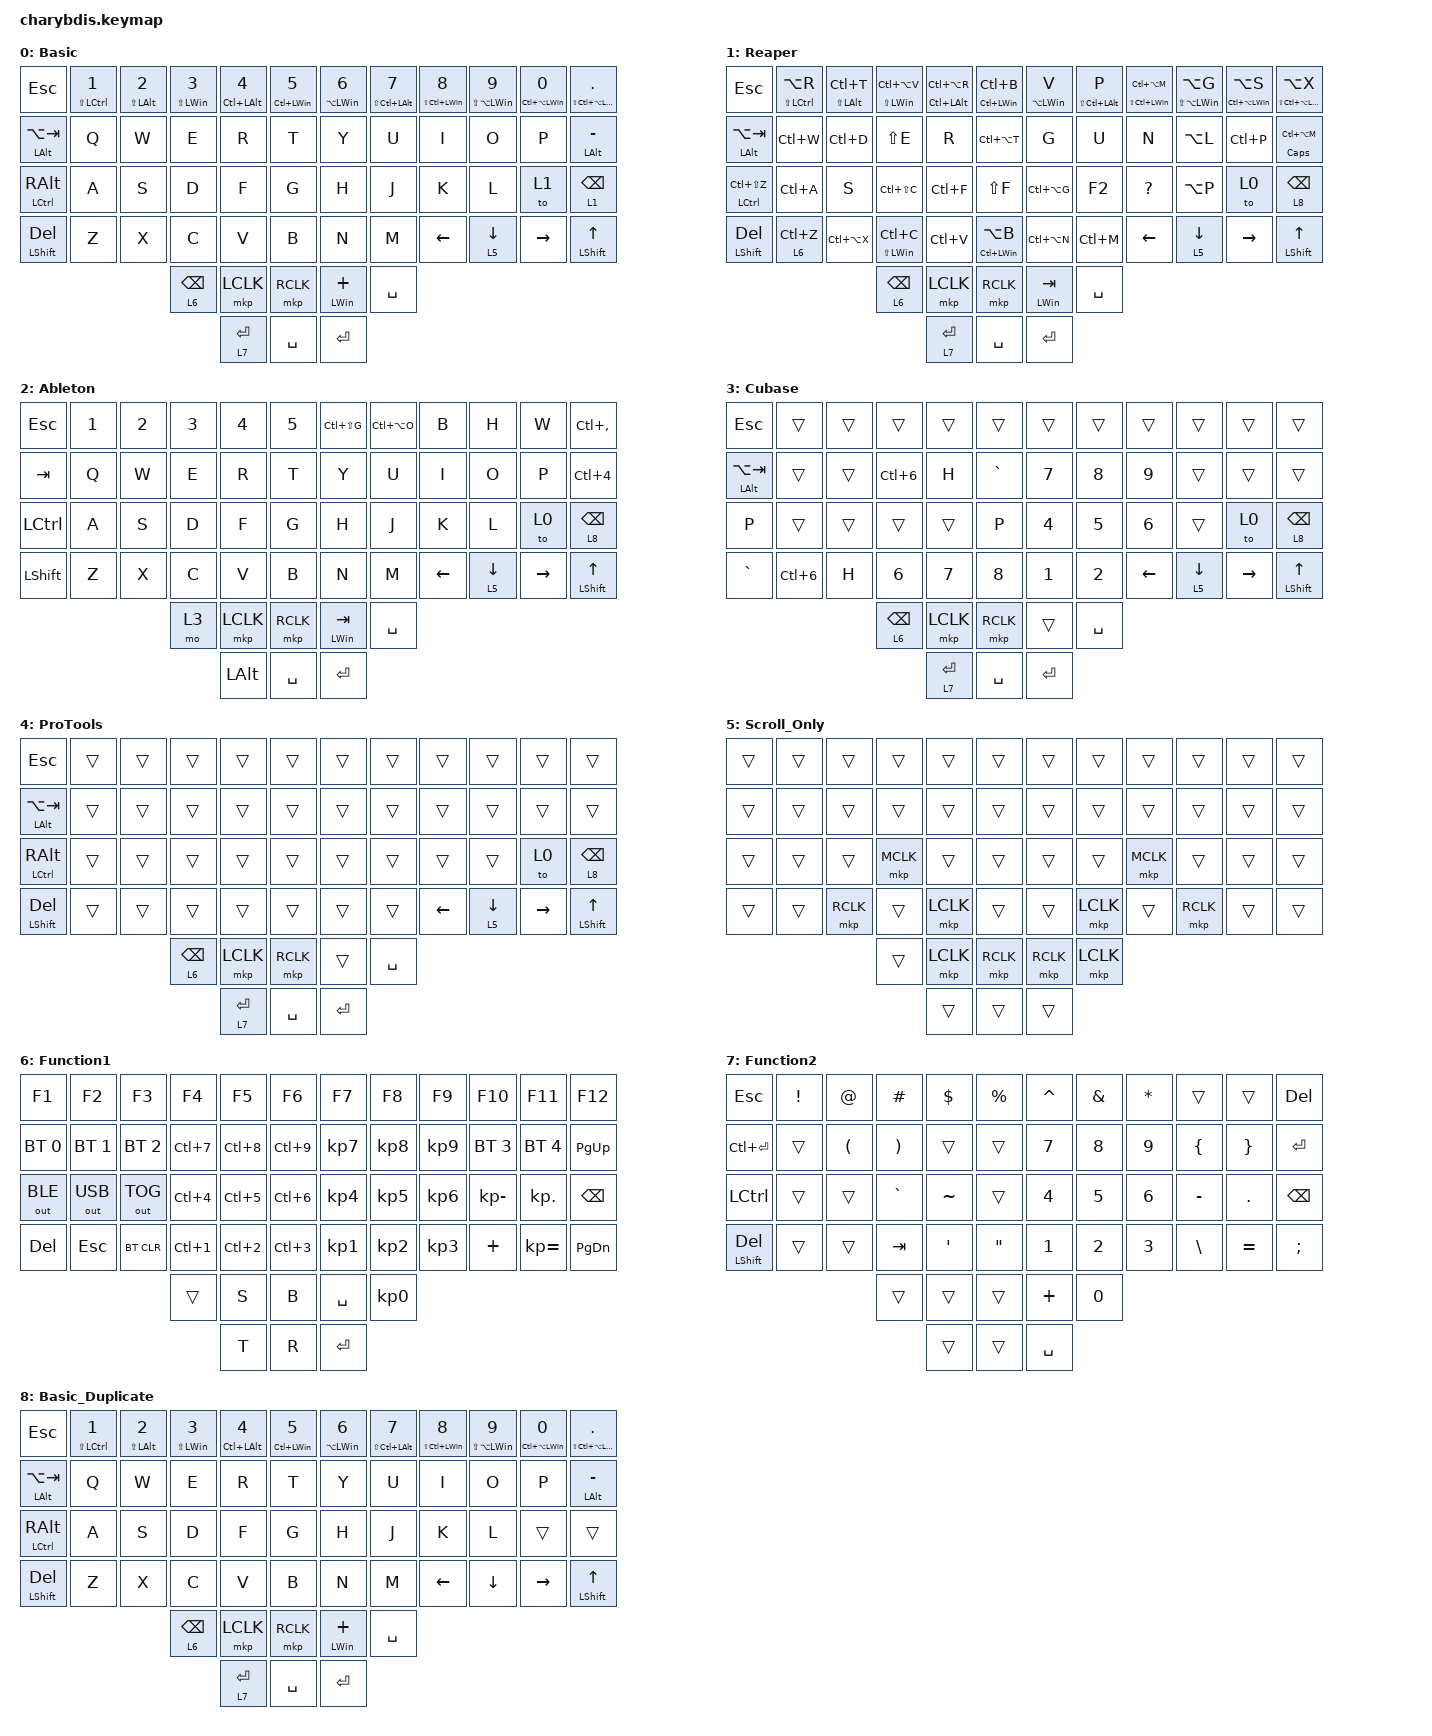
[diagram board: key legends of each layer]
#include <dt-bindings/zmk/mouse.h>
#include <behaviors.dtsi>
#include <dt-bindings/zmk/bt.h>
#include <dt-bindings/zmk/keys.h>
#include <dt-bindings/zmk/outputs.h>

&lt {
    tapping-term-ms = <200>;
    flavor = "balanced";
    quick-tap-ms = <150>;
};

/ {
    combos {
        compatible = "zmk,combos";

        escc {
            bindings = <&kp ESC>;
            key-positions = <17 18>;
            layers = <1>;
        };

        underscore {
            bindings = <&kp UNDERSCORE>;
            key-positions = <30 40>;
        };

        minus {
            bindings = <&kp MINUS>;
            key-positions = <31 40>;
        };

        colon {
            bindings = <&kp COLON>;
            key-positions = <28 35>;
        };

        slash {
            bindings = <&kp SLASH>;
            key-positions = <28 47>;
        };

        period {
            bindings = <&kp PERIOD>;
            key-positions = <28 44>;
        };

        comma {
            bindings = <&kp COMMA>;
            key-positions = <28 45>;
        };

        leftbracket {
            bindings = <&kp LEFT_BRACKET>;
            key-positions = <32 40>;
        };

        rightbracket {
            bindings = <&kp RIGHT_BRACKET>;
            key-positions = <33 40>;
        };

        lessthan {
            bindings = <&kp LESS_THAN>;
            key-positions = <40 44>;
        };

        greaterthan {
            bindings = <&kp GREATER_THAN>;
            key-positions = <40 46>;
        };

        altf4 {
            bindings = <&kp LA(F4)>;
            key-positions = <12 5>;
        };

        togglebleusb {
            bindings = <&out OUT_TOG>;
            key-positions = <37 26>;
        };

        altleft {
            bindings = <&kp LA(LEFT)>;
            key-positions = <12 45>;
        };

        altright {
            bindings = <&kp LA(RIGHT)>;
            key-positions = <12 47>;
        };

        out-toggle {
            bindings = <&out OUT_TOG>;
            key-positions = <37 26>;
        };

        bt1 {
            bindings = <&bt BT_SEL 0>;
            key-positions = <37 12>;
        };

        bt2 {
            bindings = <&bt BT_SEL 1>;
            key-positions = <37 13>;
        };

        alt1 {
            bindings = <&kp LA(NUMBER_1)>;
            key-positions = <12 1>;
        };

        alt2 {
            bindings = <&kp LA(NUMBER_2)>;
            key-positions = <12 2>;
        };

        alt3 {
            bindings = <&kp LA(NUMBER_3)>;
            key-positions = <12 3>;
        };

        alt4 {
            bindings = <&kp LA(NUMBER_4)>;
            key-positions = <12 4>;
        };

        ctrlwin0 {
            bindings = <&kp LC(LG(N0))>;
            key-positions = <0 5>;
        };

        ctrlwin1 {
            bindings = <&kp LC(LG(NUMBER_1))>;
            key-positions = <1 5>;
        };

        ctrlwin2 {
            bindings = <&kp LC(LG(NUMBER_2))>;
            key-positions = <2 5>;
        };

        ctrlwin3 {
            bindings = <&kp LC(LG(NUMBER_3))>;
            key-positions = <3 5>;
        };

        ctrlwin4 {
            bindings = <&kp LC(LG(NUMBER_4))>;
            key-positions = <4 5>;
        };

        to0 {
            bindings = <&to 0>;
            key-positions = <24 25>;
        };

        to1 {
            bindings = <&to 1>;
            key-positions = <24 26>;
        };

        to2 {
            bindings = <&to 2>;
            key-positions = <24 27>;
        };

        to3 {
            bindings = <&to 3>;
            key-positions = <24 28>;
        };

        to4 {
            bindings = <&to 4>;
            key-positions = <24 29>;
        };

        esc {
            bindings = <&kp ESCAPE>;
            key-positions = <41 42>;
        };

        quote {
            bindings = <&kp SINGLE_QUOTE>;
            key-positions = <53 41>;
        };

        double_quote {
            bindings = <&kp DOUBLE_QUOTES>;
            key-positions = <40 53>;
        };

        alt_tab {
            bindings = <&kp LA(TAB)>;
            key-positions = <12 49>;
        };
    };

    keymap {
        compatible = "zmk,keymap";

        Basic {
            bindings = <
&kp ESCAPE             &mt LS(LCTRL) NUMBER_1  &mt LS(LEFT_ALT) NUMBER_2  &mt LS(LEFT_WIN) NUMBER_3  &mt LC(LEFT_ALT) NUMBER_4  &mt LC(LEFT_WIN) NUMBER_5    &mt LA(LEFT_WIN) NUMBER_6  &mt LS(LC(LEFT_ALT)) NUMBER_7  &mt LS(LC(LEFT_WIN)) NUMBER_8  &mt LS(LA(LEFT_WIN)) NUMBER_9  &mt LC(LA(LEFT_WIN)) NUMBER_0  &mt LS(LC(LA(LEFT_WIN))) DOT
&mt LEFT_ALT LA(TAB)   &kp Q                   &kp W                      &kp E                      &kp R                      &kp T                        &kp Y                      &kp U                          &kp I                          &kp O                          &kp P                          &mt LEFT_ALT MINUS
&mt LCTRL RIGHT_ALT    &kp A                   &kp S                      &kp D                      &kp F                      &kp G                        &kp H                      &kp J                          &kp K                          &kp L                          &to 1                          &lt 1 BACKSPACE
&mt LEFT_SHIFT DELETE  &kp Z                   &kp X                      &kp C                      &kp V                      &kp B                        &kp N                      &kp M                          &kp LEFT                       &lt 5 DOWN                     &kp RIGHT                      &mt LEFT_SHIFT UP_ARROW
                                                                          &lt 6 BACKSPACE            &mkp LCLK                  &mkp RCLK                    &mt LEFT_WIN PLUS          &kp SPACE
                                                                                                     &lt 7 ENTER                &kp SPACE                    &kp ENTER
            >;
        };

        Reaper {
            bindings = <
&kp ESCAPE             &mt LS(LCTRL) LA(R)  &mt LS(LEFT_ALT) LC(T)  &mt LS(LEFT_WIN) LC(LA(V))  &mt LC(LEFT_ALT) LC(LA(R))  &mt LC(LEFT_WIN) LC(B)    &mt LA(LEFT_WIN) V  &mt LS(LC(LEFT_ALT)) P  &mt LS(LC(LEFT_WIN)) LC(LA(M))  &mt LS(LA(LEFT_WIN)) LA(G)  &mt LC(LA(LEFT_WIN)) LA(S)  &mt LS(LC(LA(LEFT_WIN))) LA(X)
&mt LEFT_ALT LA(TAB)   &kp LC(W)            &kp LC(D)               &kp LS(E)                   &kp R                       &kp LC(LA(T))             &kp G               &kp U                   &kp N                           &kp LA(L)                   &kp LC(P)                   &mt CAPSLOCK LC(LA(M))
&mt LCTRL LC(LS(Z))    &kp LC(A)            &kp S                   &kp LC(LS(C))               &kp LC(F)                   &kp LS(F)                 &kp LC(LA(G))       &kp F2                  &kp QUESTION                    &kp LA(P)                   &to 0                       &lt 8 BACKSPACE
&mt LEFT_SHIFT DELETE  &lt 6 LC(Z)          &kp LC(LA(X))           &mt LS(LEFT_WIN) LC(C)      &kp LC(V)                   &mt LC(LEFT_WIN) LA(B)    &kp LC(LA(N))       &kp LC(M)               &kp LEFT                        &lt 5 DOWN                  &kp RIGHT                   &mt LEFT_SHIFT UP_ARROW
                                                                    &lt 6 BACKSPACE             &mkp LCLK                   &mkp RCLK                 &mt LWIN TAB        &kp SPACE
                                                                                                &lt 7 ENTER                 &kp SPACE                 &kp ENTER
            >;
        };

        Ableton {
            bindings = <
&kp ESCAPE        &kp NUMBER_1  &kp NUMBER_2  &kp NUMBER_3  &kp NUMBER_4  &kp N5       &kp LC(LS(G))     &kp LC(LA(O))  &kp B     &kp H       &kp W      &kp LC(COMMA)
&kp TAB           &kp Q         &kp W         &kp E         &kp R         &kp T        &kp Y             &kp U          &kp I     &kp O       &kp P      &kp LC(NUMBER_4)
&kp LEFT_CONTROL  &kp A         &kp S         &kp D         &kp F         &kp G        &kp H             &kp J          &kp K     &kp L       &to 0      &lt 8 BACKSPACE
&kp LSHFT         &kp Z         &kp X         &kp C         &kp V         &kp B        &kp N             &kp M          &kp LEFT  &lt 5 DOWN  &kp RIGHT  &mt LEFT_SHIFT UP_ARROW
                                              &mo 3         &mkp LCLK     &mkp RCLK    &mt LEFT_WIN TAB  &kp SPACE
                                                            &kp LEFT_ALT  &kp SPACE    &kp ENTER
            >;
        };

        Cubase {
            bindings = <
&kp ESCAPE            &trans            &trans  &trans            &trans       &trans       &trans        &trans        &trans        &trans      &trans     &trans
&mt LEFT_ALT LA(TAB)  &trans            &trans  &kp LC(NUMBER_6)  &kp H        &kp GRAVE    &kp N7        &kp N8        &kp N9        &trans      &trans     &trans
&kp P                 &trans            &trans  &trans            &trans       &kp P        &kp NUMBER_4  &kp N5        &kp NUMBER_6  &trans      &to 0      &lt 8 BACKSPACE
&kp GRAVE             &kp LC(NUMBER_6)  &kp H   &kp NUMBER_6      &kp N7       &kp N8       &kp NUMBER_1  &kp NUMBER_2  &kp LEFT      &lt 5 DOWN  &kp RIGHT  &mt LEFT_SHIFT UP_ARROW
                                                &lt 6 BACKSPACE   &mkp LCLK    &mkp RCLK    &trans        &kp SPACE
                                                                  &lt 7 ENTER  &kp SPACE    &kp ENTER
            >;
        };

        ProTools {
            bindings = <
&kp ESCAPE             &trans  &trans  &trans           &trans       &trans       &trans     &trans     &trans    &trans      &trans     &trans
&mt LEFT_ALT LA(TAB)   &trans  &trans  &trans           &trans       &trans       &trans     &trans     &trans    &trans      &trans     &trans
&mt LCTRL RIGHT_ALT    &trans  &trans  &trans           &trans       &trans       &trans     &trans     &trans    &trans      &to 0      &lt 8 BACKSPACE
&mt LEFT_SHIFT DELETE  &trans  &trans  &trans           &trans       &trans       &trans     &trans     &kp LEFT  &lt 5 DOWN  &kp RIGHT  &mt LEFT_SHIFT UP_ARROW
                                       &lt 6 BACKSPACE  &mkp LCLK    &mkp RCLK    &trans     &kp SPACE
                                                        &lt 7 ENTER  &kp SPACE    &kp ENTER
            >;
        };

        Scroll_Only {
            bindings = <
&trans  &trans  &trans     &trans     &trans     &trans       &trans     &trans     &trans     &trans     &trans  &trans
&trans  &trans  &trans     &trans     &trans     &trans       &trans     &trans     &trans     &trans     &trans  &trans
&trans  &trans  &trans     &mkp MCLK  &trans     &trans       &trans     &trans     &mkp MCLK  &trans     &trans  &trans
&trans  &trans  &mkp RCLK  &trans     &mkp LCLK  &trans       &trans     &mkp LCLK  &trans     &mkp RCLK  &trans  &trans
                           &trans     &mkp LCLK  &mkp RCLK    &mkp RCLK  &mkp LCLK
                                      &trans     &trans       &trans
            >;
        };

        Function1 {
            bindings = <
&kp F1        &kp F2        &kp F3        &kp F4            &kp F5            &kp F6              &kp F7           &kp F8           &kp F9           &kp F10       &kp F11       &kp F12
&bt BT_SEL 0  &bt BT_SEL 1  &bt BT_SEL 2  &kp LC(N7)        &kp LC(N8)        &kp LC(N9)          &kp KP_NUMBER_7  &kp KP_NUMBER_8  &kp KP_NUMBER_9  &bt BT_SEL 3  &bt BT_SEL 4  &kp PAGE_UP
&out OUT_BLE  &out OUT_USB  &out OUT_TOG  &kp LC(NUMBER_4)  &kp LC(N5)        &kp LC(NUMBER_6)    &kp KP_NUMBER_4  &kp KP_N5        &kp KP_NUMBER_6  &kp KP_MINUS  &kp KP_DOT    &kp BACKSPACE
&kp DEL       &kp ESCAPE    &bt BT_CLR    &kp LC(NUMBER_1)  &kp LC(NUMBER_2)  &kp LC(NUMBER_3)    &kp KP_NUMBER_1  &kp KP_NUMBER_2  &kp KP_NUMBER_3  &kp PLUS      &kp KP_EQUAL  &kp PAGE_DOWN
                                          &trans            &kp S             &kp B               &kp SPACE        &kp KP_NUMBER_0
                                                            &kp T             &kp R               &kp ENTER
            >;
        };

        Function2 {
            bindings = <
&kp ESCAPE             &kp EXCLAMATION  &kp AT_SIGN           &kp HASH               &kp DOLLAR        &kp PERCENT          &kp CARET     &kp AMPERSAND  &kp ASTERISK  &trans          &trans           &kp DELETE
&kp LC(ENTER)          &trans           &kp LEFT_PARENTHESIS  &kp RIGHT_PARENTHESIS  &trans            &trans               &kp N7        &kp N8         &kp N9        &kp LEFT_BRACE  &kp RIGHT_BRACE  &kp ENTER
&kp LEFT_CONTROL       &trans           &trans                &kp GRAVE              &kp TILDE         &trans               &kp NUMBER_4  &kp N5         &kp NUMBER_6  &kp MINUS       &kp DOT          &kp BACKSPACE
&mt LEFT_SHIFT DELETE  &trans           &trans                &kp TAB                &kp SINGLE_QUOTE  &kp DOUBLE_QUOTES    &kp NUMBER_1  &kp NUMBER_2   &kp NUMBER_3  &kp BACKSLASH   &kp EQUAL        &kp SEMICOLON
                                                              &trans                 &trans            &trans               &kp PLUS      &kp N0
                                                                                     &trans            &trans               &kp SPACE
            >;
        };

        Basic_Duplicate {
            bindings = <
&kp ESCAPE             &mt LS(LCTRL) NUMBER_1  &mt LS(LEFT_ALT) NUMBER_2  &mt LS(LEFT_WIN) NUMBER_3  &mt LC(LEFT_ALT) NUMBER_4  &mt LC(LEFT_WIN) NUMBER_5    &mt LA(LEFT_WIN) NUMBER_6  &mt LS(LC(LEFT_ALT)) NUMBER_7  &mt LS(LC(LEFT_WIN)) NUMBER_8  &mt LS(LA(LEFT_WIN)) NUMBER_9  &mt LC(LA(LEFT_WIN)) NUMBER_0  &mt LS(LC(LA(LEFT_WIN))) DOT
&mt LEFT_ALT LA(TAB)   &kp Q                   &kp W                      &kp E                      &kp R                      &kp T                        &kp Y                      &kp U                          &kp I                          &kp O                          &kp P                          &mt LEFT_ALT MINUS
&mt LCTRL RIGHT_ALT    &kp A                   &kp S                      &kp D                      &kp F                      &kp G                        &kp H                      &kp J                          &kp K                          &kp L                          &trans                         &trans
&mt LEFT_SHIFT DELETE  &kp Z                   &kp X                      &kp C                      &kp V                      &kp B                        &kp N                      &kp M                          &kp LEFT                       &kp DOWN                       &kp RIGHT                      &mt LEFT_SHIFT UP_ARROW
                                                                          &lt 6 BACKSPACE            &mkp LCLK                  &mkp RCLK                    &mt LEFT_WIN PLUS          &kp SPACE
                                                                                                     &lt 7 ENTER                &kp SPACE                    &kp ENTER
            >;
        };
    };

    conditional_layers { compatible = "zmk,conditional-layers"; };
};
